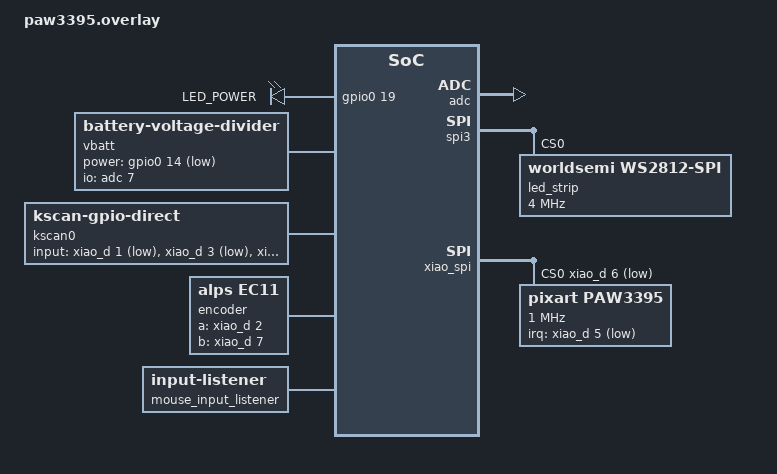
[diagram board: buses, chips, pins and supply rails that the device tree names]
// SPDX-License-Identifier: MIT

#include <dt-bindings/zmk/matrix_transform.h>
#include <dt-bindings/input/input-event-codes.h>
#include <dt-bindings/led/led.h>
#include "paw3395-pinctrl.dtsi"

/ {
    aliases {
        led-power = &led_power;
    };

    leds {
        compatible = "gpio-leds";
        led_power: led_power {
            gpios = <&gpio0 19 GPIO_ACTIVE_HIGH>;
            label = "LED_POWER";
        };
    };

    chosen {
        zmk,kscan = &kscan0;
        zmk,matrix-transform = &default_transform;
        zmk,underglow = &led_strip;
        zmk,battery = &vbatt;
    };

    vbatt: vbatt {
        compatible = "zmk,battery-voltage-divider";
        io-channels = <&adc 7>;
        power-gpios = <&gpio0 14 (GPIO_OPEN_DRAIN | GPIO_ACTIVE_LOW)>;
        output-ohms = <510000>;
        full-ohms = <(1000000 + 510000)>;
    };

    default_transform: keymap_transform_0 {
        compatible = "zmk,matrix-transform";
        columns = <3>;
        rows = <1>;
        map = <RC(0,0) RC(0,1) RC(0,2)>;
    };

    kscan0: kscan {
        compatible = "zmk,kscan-gpio-direct";
        wakeup-source;
        input-gpios
            = <&xiao_d 1 (GPIO_ACTIVE_LOW | GPIO_PULL_UP)>  // D1 - B3U-1000P Button
            , <&xiao_d 3 (GPIO_ACTIVE_LOW | GPIO_PULL_UP)>  // D3 - Mouse switch 1
            , <&xiao_d 4 (GPIO_ACTIVE_LOW | GPIO_PULL_UP)>  // D4 - Mouse switch 2
            ;
    };
    
    encoder: encoder {
        compatible = "alps,ec11";
        a-gpios = <&xiao_d 2 (GPIO_ACTIVE_HIGH | GPIO_PULL_UP)>;  // D2 - Scrollwheel
        b-gpios = <&xiao_d 7 (GPIO_ACTIVE_HIGH | GPIO_PULL_UP)>;  // D7 - Scrollwheel
        steps = <80>;
        status = "okay";
    };
    
    sensors {
        compatible = "zmk,keymap-sensors";
        sensors = <&encoder>;
    };

    mouse_input_listener {
        compatible = "zmk,input-listener";
        device = <&paw3395_sensor>;
    };
};

&adc {
    status = "okay";
};

// SK6812MINI-E LEDs on D0 (P0.2) - Use SPI3
&spi3 {
    compatible = "nordic,nrf-spim";
    status = "okay";
    
    pinctrl-0 = <&spi3_led>;
    pinctrl-names = "default";

    led_strip: ws2812@0 {
        compatible = "worldsemi,ws2812-spi";
        reg = <0>;
        spi-max-frequency = <4000000>;
        chain-length = <2>;
        spi-one-frame = <0x70>;
        spi-zero-frame = <0x40>;
        color-mapping = <LED_COLOR_ID_GREEN LED_COLOR_ID_RED LED_COLOR_ID_BLUE>;
    };
};

// PAW3395 sensor on main SPI bus
&xiao_spi {
    compatible = "nordic,nrf-spim";
    status = "okay";
    pinctrl-0 = <&xiao_spi_default>;
    pinctrl-1 = <&xiao_spi_sleep>;
    pinctrl-names = "default", "sleep";
    cs-gpios = <&xiao_d 6 GPIO_ACTIVE_LOW>;  // D6 - NCS signal to PAW3395

    paw3395_sensor: paw3395@0 {
        compatible = "pixart,paw3395";
        reg = <0>;
        spi-max-frequency = <1000000>;
        status = "okay";
        label = "PAW3395";
        // D5 (P0.05) has hardware pull-up on XIAO BLE - software pull-up matches hardware
        irq-gpios = <&xiao_d 5 (GPIO_ACTIVE_LOW | GPIO_PULL_UP)>;
        cpi = <26000>;
        evt-type = <INPUT_EV_REL>;
        x-input-code = <INPUT_REL_X>;
        y-input-code = <INPUT_REL_Y>;
    };
};

&xiao_serial {
    status = "disabled";
};

&xiao_i2c {
    status = "disabled";
};
